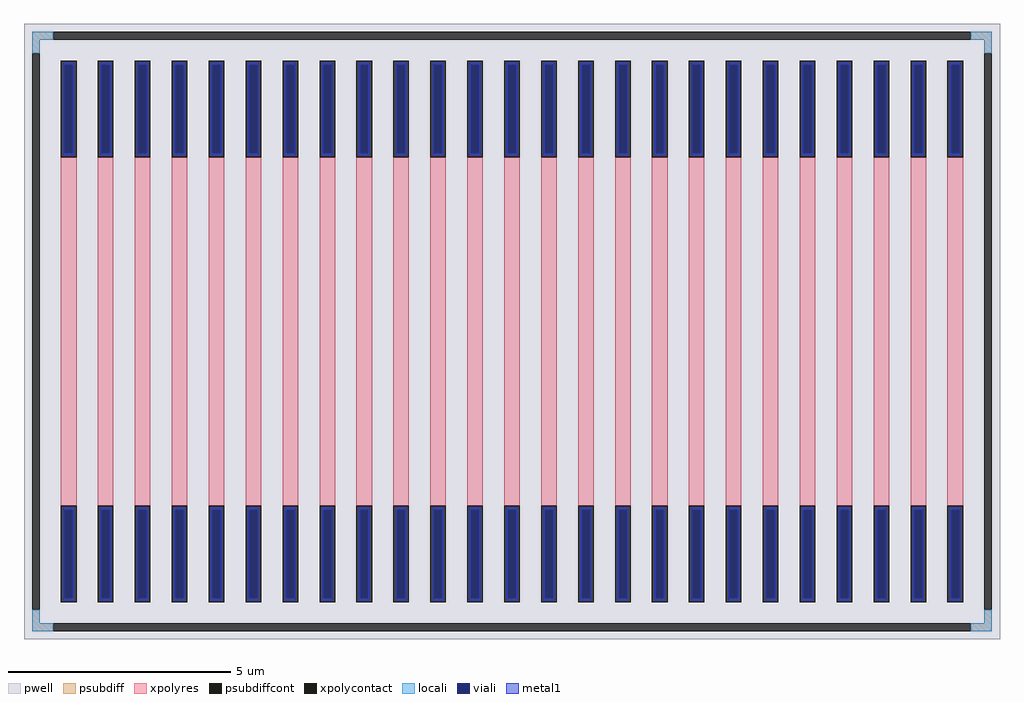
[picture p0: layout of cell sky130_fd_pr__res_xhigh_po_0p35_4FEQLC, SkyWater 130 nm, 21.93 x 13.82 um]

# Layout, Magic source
magic
tech sky130A
magscale 1 2
<< pwell >>
rect -2193 -1382 2193 1382
<< psubdiff >>
rect -2157 1312 -2061 1346
rect 2061 1312 2157 1346
rect -2157 1250 -2123 1312
rect 2123 1250 2157 1312
rect -2157 -1312 -2123 -1250
rect 2123 -1312 2157 -1250
rect -2157 -1346 -2061 -1312
rect 2061 -1346 2157 -1312
<< psubdiffcont >>
rect -2061 1312 2061 1346
rect -2157 -1250 -2123 1250
rect 2123 -1250 2157 1250
rect -2061 -1346 2061 -1312
<< xpolycontact >>
rect -2027 784 -1957 1216
rect -2027 -1216 -1957 -784
rect -1861 784 -1791 1216
rect -1861 -1216 -1791 -784
rect -1695 784 -1625 1216
rect -1695 -1216 -1625 -784
rect -1529 784 -1459 1216
rect -1529 -1216 -1459 -784
rect -1363 784 -1293 1216
rect -1363 -1216 -1293 -784
rect -1197 784 -1127 1216
rect -1197 -1216 -1127 -784
rect -1031 784 -961 1216
rect -1031 -1216 -961 -784
rect -865 784 -795 1216
rect -865 -1216 -795 -784
rect -699 784 -629 1216
rect -699 -1216 -629 -784
rect -533 784 -463 1216
rect -533 -1216 -463 -784
rect -367 784 -297 1216
rect -367 -1216 -297 -784
rect -201 784 -131 1216
rect -201 -1216 -131 -784
rect -35 784 35 1216
rect -35 -1216 35 -784
rect 131 784 201 1216
rect 131 -1216 201 -784
rect 297 784 367 1216
rect 297 -1216 367 -784
rect 463 784 533 1216
rect 463 -1216 533 -784
rect 629 784 699 1216
rect 629 -1216 699 -784
rect 795 784 865 1216
rect 795 -1216 865 -784
rect 961 784 1031 1216
rect 961 -1216 1031 -784
rect 1127 784 1197 1216
rect 1127 -1216 1197 -784
rect 1293 784 1363 1216
rect 1293 -1216 1363 -784
rect 1459 784 1529 1216
rect 1459 -1216 1529 -784
rect 1625 784 1695 1216
rect 1625 -1216 1695 -784
rect 1791 784 1861 1216
rect 1791 -1216 1861 -784
rect 1957 784 2027 1216
rect 1957 -1216 2027 -784
<< xpolyres >>
rect -2027 -784 -1957 784
rect -1861 -784 -1791 784
rect -1695 -784 -1625 784
rect -1529 -784 -1459 784
rect -1363 -784 -1293 784
rect -1197 -784 -1127 784
rect -1031 -784 -961 784
rect -865 -784 -795 784
rect -699 -784 -629 784
rect -533 -784 -463 784
rect -367 -784 -297 784
rect -201 -784 -131 784
rect -35 -784 35 784
rect 131 -784 201 784
rect 297 -784 367 784
rect 463 -784 533 784
rect 629 -784 699 784
rect 795 -784 865 784
rect 961 -784 1031 784
rect 1127 -784 1197 784
rect 1293 -784 1363 784
rect 1459 -784 1529 784
rect 1625 -784 1695 784
rect 1791 -784 1861 784
rect 1957 -784 2027 784
<< locali >>
rect -2157 1312 -2061 1346
rect 2061 1312 2157 1346
rect -2157 1250 -2123 1312
rect 2123 1250 2157 1312
rect -2157 -1312 -2123 -1250
rect 2123 -1312 2157 -1250
rect -2157 -1346 -2061 -1312
rect 2061 -1346 2157 -1312
<< viali >>
rect -2011 801 -1973 1198
rect -1845 801 -1807 1198
rect -1679 801 -1641 1198
rect -1513 801 -1475 1198
rect -1347 801 -1309 1198
rect -1181 801 -1143 1198
rect -1015 801 -977 1198
rect -849 801 -811 1198
rect -683 801 -645 1198
rect -517 801 -479 1198
rect -351 801 -313 1198
rect -185 801 -147 1198
rect -19 801 19 1198
rect 147 801 185 1198
rect 313 801 351 1198
rect 479 801 517 1198
rect 645 801 683 1198
rect 811 801 849 1198
rect 977 801 1015 1198
rect 1143 801 1181 1198
rect 1309 801 1347 1198
rect 1475 801 1513 1198
rect 1641 801 1679 1198
rect 1807 801 1845 1198
rect 1973 801 2011 1198
rect -2011 -1198 -1973 -801
rect -1845 -1198 -1807 -801
rect -1679 -1198 -1641 -801
rect -1513 -1198 -1475 -801
rect -1347 -1198 -1309 -801
rect -1181 -1198 -1143 -801
rect -1015 -1198 -977 -801
rect -849 -1198 -811 -801
rect -683 -1198 -645 -801
rect -517 -1198 -479 -801
rect -351 -1198 -313 -801
rect -185 -1198 -147 -801
rect -19 -1198 19 -801
rect 147 -1198 185 -801
rect 313 -1198 351 -801
rect 479 -1198 517 -801
rect 645 -1198 683 -801
rect 811 -1198 849 -801
rect 977 -1198 1015 -801
rect 1143 -1198 1181 -801
rect 1309 -1198 1347 -801
rect 1475 -1198 1513 -801
rect 1641 -1198 1679 -801
rect 1807 -1198 1845 -801
rect 1973 -1198 2011 -801
<< metal1 >>
rect -2017 1198 -1967 1210
rect -2017 801 -2011 1198
rect -1973 801 -1967 1198
rect -2017 789 -1967 801
rect -1851 1198 -1801 1210
rect -1851 801 -1845 1198
rect -1807 801 -1801 1198
rect -1851 789 -1801 801
rect -1685 1198 -1635 1210
rect -1685 801 -1679 1198
rect -1641 801 -1635 1198
rect -1685 789 -1635 801
rect -1519 1198 -1469 1210
rect -1519 801 -1513 1198
rect -1475 801 -1469 1198
rect -1519 789 -1469 801
rect -1353 1198 -1303 1210
rect -1353 801 -1347 1198
rect -1309 801 -1303 1198
rect -1353 789 -1303 801
rect -1187 1198 -1137 1210
rect -1187 801 -1181 1198
rect -1143 801 -1137 1198
rect -1187 789 -1137 801
rect -1021 1198 -971 1210
rect -1021 801 -1015 1198
rect -977 801 -971 1198
rect -1021 789 -971 801
rect -855 1198 -805 1210
rect -855 801 -849 1198
rect -811 801 -805 1198
rect -855 789 -805 801
rect -689 1198 -639 1210
rect -689 801 -683 1198
rect -645 801 -639 1198
rect -689 789 -639 801
rect -523 1198 -473 1210
rect -523 801 -517 1198
rect -479 801 -473 1198
rect -523 789 -473 801
rect -357 1198 -307 1210
rect -357 801 -351 1198
rect -313 801 -307 1198
rect -357 789 -307 801
rect -191 1198 -141 1210
rect -191 801 -185 1198
rect -147 801 -141 1198
rect -191 789 -141 801
rect -25 1198 25 1210
rect -25 801 -19 1198
rect 19 801 25 1198
rect -25 789 25 801
rect 141 1198 191 1210
rect 141 801 147 1198
rect 185 801 191 1198
rect 141 789 191 801
rect 307 1198 357 1210
rect 307 801 313 1198
rect 351 801 357 1198
rect 307 789 357 801
rect 473 1198 523 1210
rect 473 801 479 1198
rect 517 801 523 1198
rect 473 789 523 801
rect 639 1198 689 1210
rect 639 801 645 1198
rect 683 801 689 1198
rect 639 789 689 801
rect 805 1198 855 1210
rect 805 801 811 1198
rect 849 801 855 1198
rect 805 789 855 801
rect 971 1198 1021 1210
rect 971 801 977 1198
rect 1015 801 1021 1198
rect 971 789 1021 801
rect 1137 1198 1187 1210
rect 1137 801 1143 1198
rect 1181 801 1187 1198
rect 1137 789 1187 801
rect 1303 1198 1353 1210
rect 1303 801 1309 1198
rect 1347 801 1353 1198
rect 1303 789 1353 801
rect 1469 1198 1519 1210
rect 1469 801 1475 1198
rect 1513 801 1519 1198
rect 1469 789 1519 801
rect 1635 1198 1685 1210
rect 1635 801 1641 1198
rect 1679 801 1685 1198
rect 1635 789 1685 801
rect 1801 1198 1851 1210
rect 1801 801 1807 1198
rect 1845 801 1851 1198
rect 1801 789 1851 801
rect 1967 1198 2017 1210
rect 1967 801 1973 1198
rect 2011 801 2017 1198
rect 1967 789 2017 801
rect -2017 -801 -1967 -789
rect -2017 -1198 -2011 -801
rect -1973 -1198 -1967 -801
rect -2017 -1210 -1967 -1198
rect -1851 -801 -1801 -789
rect -1851 -1198 -1845 -801
rect -1807 -1198 -1801 -801
rect -1851 -1210 -1801 -1198
rect -1685 -801 -1635 -789
rect -1685 -1198 -1679 -801
rect -1641 -1198 -1635 -801
rect -1685 -1210 -1635 -1198
rect -1519 -801 -1469 -789
rect -1519 -1198 -1513 -801
rect -1475 -1198 -1469 -801
rect -1519 -1210 -1469 -1198
rect -1353 -801 -1303 -789
rect -1353 -1198 -1347 -801
rect -1309 -1198 -1303 -801
rect -1353 -1210 -1303 -1198
rect -1187 -801 -1137 -789
rect -1187 -1198 -1181 -801
rect -1143 -1198 -1137 -801
rect -1187 -1210 -1137 -1198
rect -1021 -801 -971 -789
rect -1021 -1198 -1015 -801
rect -977 -1198 -971 -801
rect -1021 -1210 -971 -1198
rect -855 -801 -805 -789
rect -855 -1198 -849 -801
rect -811 -1198 -805 -801
rect -855 -1210 -805 -1198
rect -689 -801 -639 -789
rect -689 -1198 -683 -801
rect -645 -1198 -639 -801
rect -689 -1210 -639 -1198
rect -523 -801 -473 -789
rect -523 -1198 -517 -801
rect -479 -1198 -473 -801
rect -523 -1210 -473 -1198
rect -357 -801 -307 -789
rect -357 -1198 -351 -801
rect -313 -1198 -307 -801
rect -357 -1210 -307 -1198
rect -191 -801 -141 -789
rect -191 -1198 -185 -801
rect -147 -1198 -141 -801
rect -191 -1210 -141 -1198
rect -25 -801 25 -789
rect -25 -1198 -19 -801
rect 19 -1198 25 -801
rect -25 -1210 25 -1198
rect 141 -801 191 -789
rect 141 -1198 147 -801
rect 185 -1198 191 -801
rect 141 -1210 191 -1198
rect 307 -801 357 -789
rect 307 -1198 313 -801
rect 351 -1198 357 -801
rect 307 -1210 357 -1198
rect 473 -801 523 -789
rect 473 -1198 479 -801
rect 517 -1198 523 -801
rect 473 -1210 523 -1198
rect 639 -801 689 -789
rect 639 -1198 645 -801
rect 683 -1198 689 -801
rect 639 -1210 689 -1198
rect 805 -801 855 -789
rect 805 -1198 811 -801
rect 849 -1198 855 -801
rect 805 -1210 855 -1198
rect 971 -801 1021 -789
rect 971 -1198 977 -801
rect 1015 -1198 1021 -801
rect 971 -1210 1021 -1198
rect 1137 -801 1187 -789
rect 1137 -1198 1143 -801
rect 1181 -1198 1187 -801
rect 1137 -1210 1187 -1198
rect 1303 -801 1353 -789
rect 1303 -1198 1309 -801
rect 1347 -1198 1353 -801
rect 1303 -1210 1353 -1198
rect 1469 -801 1519 -789
rect 1469 -1198 1475 -801
rect 1513 -1198 1519 -801
rect 1469 -1210 1519 -1198
rect 1635 -801 1685 -789
rect 1635 -1198 1641 -801
rect 1679 -1198 1685 -801
rect 1635 -1210 1685 -1198
rect 1801 -801 1851 -789
rect 1801 -1198 1807 -801
rect 1845 -1198 1851 -801
rect 1801 -1210 1851 -1198
rect 1967 -801 2017 -789
rect 1967 -1198 1973 -801
rect 2011 -1198 2017 -801
rect 1967 -1210 2017 -1198
<< properties >>
string FIXED_BBOX -2140 -1329 2140 1329
string gencell sky130_fd_pr__res_xhigh_po_0p35
string library sky130
string parameters w 0.350 l 8.0 m 1 nx 25 wmin 0.350 lmin 0.50 rho 2000 val 46.789k dummy 0 dw 0.0 term 188.2 sterm 0.0 caplen 0 wmax 0.350 guard 1 glc 1 grc 1 gtc 1 gbc 1 compatible {sky130_fd_pr__res_xhigh_po_0p35  sky130_fd_pr__res_xhigh_po_0p69 sky130_fd_pr__res_xhigh_po_1p41  sky130_fd_pr__res_xhigh_po_2p85 sky130_fd_pr__res_xhigh_po_5p73} snake 0 full_metal 1 n_guard 0 hv_guard 0 vias 1 viagb 0 viagt 0 viagl 0 viagr 0
<< end >>
